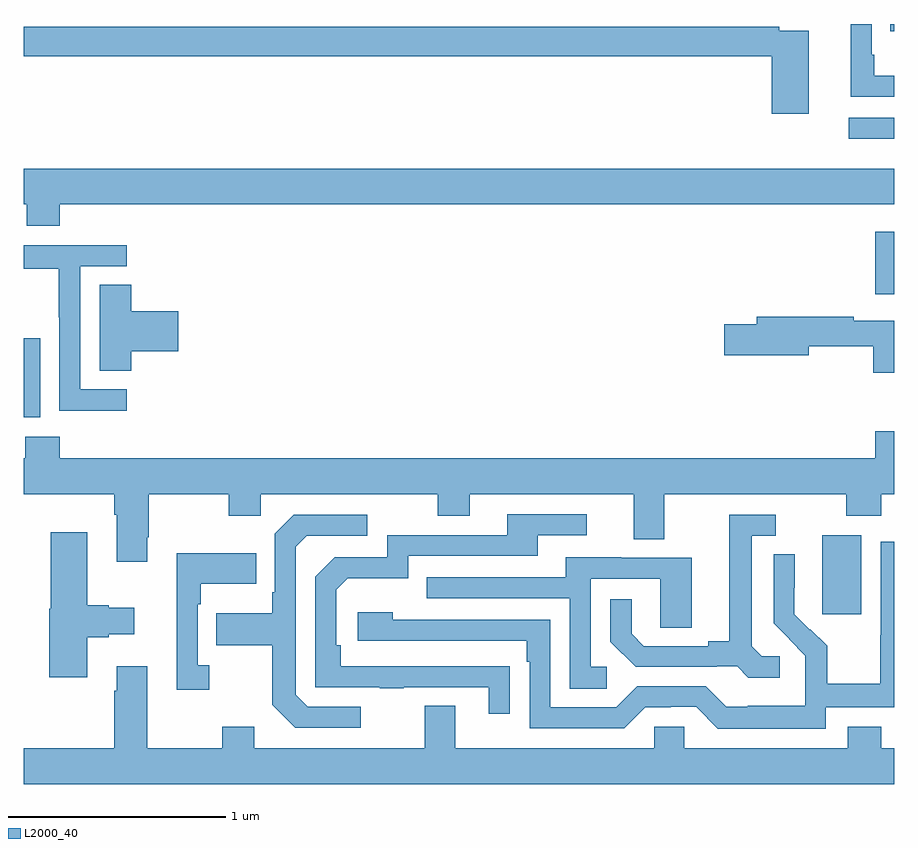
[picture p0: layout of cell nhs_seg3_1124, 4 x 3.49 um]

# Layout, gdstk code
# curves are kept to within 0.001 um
import gdstk
lib = gdstk.Library(unit=1e-6, precision=1e-09)
def R(c, l, rs):  # rectangles x0, y0, x1, y1
    for r in rs: c.add(gdstk.rectangle(r[:2], r[2:], *l))
def P(c, l, *ps):  # polygons
    for p in ps: c.add(gdstk.Polygon(p, *l))
L2000_40 = (2000, 40)

nhs_seg3_1124 = lib.new_cell('nhs_seg3_1124')
R(nhs_seg3_1124, L2000_40, [(172.67,709.689,172.849,710.05), (169,710.594,169.075,710.955), (172.913,711.158,173,711.445), (172.791,711.872,173,711.969), (172.981,712.367,173,712.4)])
P(nhs_seg3_1124, L2000_40, [(173,712.163),(172.909,712.163),(172.909,712.258),(172.896,712.258),(172.896,712.4),(172.799,712.4),(172.799,712.065),(173,712.065)],
  [(172.606,712.368),(172.472,712.368),(172.472,712.388),(169,712.388),(169,712.252),(172.436,712.252),(172.436,711.987),(172.606,711.987)],
  [(169.166,711.572),(173,711.572),(173,711.736),(169,711.736),(169,711.572),(169.013,711.572),(169.013,711.473),(169.166,711.473)],
  [(169.474,710.721),(169.26,710.721),(169.26,711.288),(169.474,711.288),(169.474,711.384),(169,711.384),(169,711.276),(169.162,711.276),(169.162,711.052),(169.164,711.052),(169.164,710.623),(169.474,710.623)],
  [(169.493,710.897),(169.711,710.897),(169.711,711.08),(169.493,711.08),(169.493,711.203),(169.349,711.203),(169.349,710.806),(169.493,710.806)],
  [(173,711.036),(172.814,711.036),(172.814,711.056),(172.367,711.056),(172.367,711.02),(172.218,711.02),(172.218,710.878),(172.606,710.878),(172.606,710.92),(172.903,710.92),(172.903,710.798),(173,710.798)],
  [(169.166,710.503),(169.006,710.503),(169.006,710.404),(169,710.404),(169,710.24),(169.415,710.24),(169.415,710.144),(169.427,710.144),(169.427,709.929),(169.567,709.929),(169.567,710.041),(169.575,710.041),(169.575,710.24),(169.942,710.24),(169.942,710.141),(170.088,710.141),(170.088,710.24),(170.902,710.24),(170.902,710.141),(171.049,710.141),(171.049,710.24),(171.803,710.24),(171.803,710.032),(171.943,710.032),(171.943,710.24),(172.78,710.24),(172.78,710.141),(172.94,710.141),(172.94,710.24),(173,710.24),(173,710.528),(172.913,710.528),(172.913,710.404),(169.166,710.404)],
  [(171.233,709.448),(170.456,709.449),(170.456,709.546),(170.436,709.546),(170.436,709.8),(170.489,709.853),(170.766,709.853),(170.766,709.956),(171.361,709.956),(171.361,710.052),(171.586,710.052),(171.586,710.148),(171.221,710.148),(171.221,710.052),(170.67,710.052),(170.67,709.95),(170.43,709.95),(170.34,709.86),(170.34,709.353),(170.635,709.353),(170.635,709.348),(170.747,709.348),(170.747,709.353),(171.137,709.353),(171.137,709.23),(171.233,709.23)],
  [(172.474,709.494),(172.392,709.494),(172.345,709.541),(172.345,710.049),(172.456,710.049),(172.456,710.145),(172.241,710.145),(172.241,709.565),(172.145,709.565),(172.145,709.542),(171.85,709.542),(171.793,709.599),(171.793,709.756),(171.696,709.756),(171.696,709.562),(171.812,709.446),(172.184,709.446),(172.184,709.449),(172.278,709.449),(172.33,709.397),(172.474,709.397)],
  [(170.548,709.263),(170.304,709.263),(170.25,709.317),(170.25,709.998),(170.301,710.049),(170.578,710.049),(170.578,710.145),(170.241,710.145),(170.154,710.058),(170.154,709.789),(170.142,709.789),(170.142,709.693),(169.885,709.693),(169.885,709.546),(170.142,709.546),(170.142,709.273),(170.247,709.167),(170.548,709.167)],
  [(169.291,709.583),(169.391,709.583),(169.391,709.595),(169.507,709.595),(169.507,709.717),(169.391,709.717),(169.391,709.73),(169.291,709.73),(169.291,710.065),(169.124,710.065),(169.124,709.713),(169.118,709.713),(169.118,709.398),(169.291,709.398)],
  [(172.686,709.26),(173,709.26),(173,710.022),(172.938,710.022),(172.938,709.592),(172.936,709.592),(172.936,709.369),(172.691,709.369),(172.691,709.543),(172.614,709.62),(172.611,709.617),(172.541,709.688),(172.542,709.964),(172.446,709.964),(172.446,709.646),(172.592,709.498),(172.592,709.401),(172.59,709.401),(172.59,709.267),(172.327,709.267),(172.327,709.263),(172.227,709.263),(172.134,709.356),(171.819,709.356),(171.723,709.26),(171.42,709.26),(171.42,709.662),(170.696,709.662),(170.696,709.696),(170.535,709.696),(170.535,709.566),(171.311,709.566),(171.311,709.469),(171.324,709.469),(171.324,709.164),(171.759,709.164),(171.855,709.26),(171.974,709.26),(171.974,709.263),(172.089,709.263),(172.189,709.163),(172.686,709.163)],
  [(169.852,709.454),(169.8,709.454),(169.8,709.733),(169.813,709.733),(169.813,709.829),(170.069,709.829),(170.069,709.969),(169.703,709.969),(169.703,709.341),(169.852,709.341)],
  [(171.679,709.446),(171.606,709.446),(171.606,709.851),(171.924,709.851),(171.924,709.627),(172.069,709.627),(172.069,709.947),(171.745,709.947),(171.745,709.951),(171.491,709.951),(171.491,709.857),(170.851,709.857),(170.851,709.761),(171.51,709.761),(171.51,709.345),(171.679,709.345)],
  [(173,709.072),(172.94,709.072),(172.94,709.171),(172.787,709.171),(172.787,709.072),(172.035,709.072),(172.035,709.17),(171.897,709.17),(171.897,709.072),(170.983,709.072),(170.983,709.267),(170.843,709.267),(170.843,709.072),(170.059,709.072),(170.059,709.171),(169.912,709.171),(169.912,709.072),(169.567,709.072),(169.567,709.45),(169.427,709.45),(169.427,709.337),(169.415,709.337),(169.415,709.072),(169,709.072),(169,708.908),(173,708.908)])

lib.write_gds('nhs_seg3_1124.gds')
